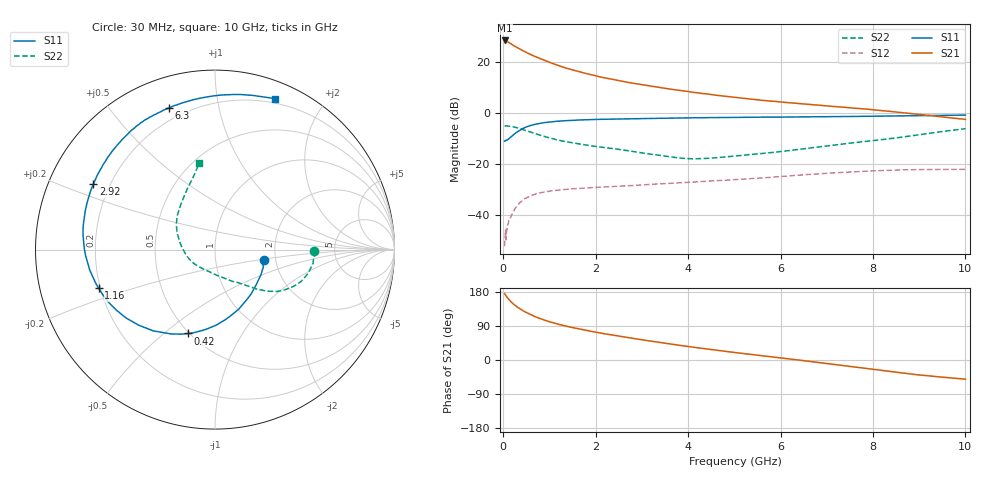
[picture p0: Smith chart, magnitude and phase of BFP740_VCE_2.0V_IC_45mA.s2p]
! Infineon Technologies  Discrete & RF Semiconductors
! BFP740
! VCE =  2.0 V,  IC =  45 mA
! Common Emitter S-Parameters:  Jan 2016
# GHz  S  MA  R  50
!  f  S11  S21  S12  S22
! GHz  MAG  ANG  MAG  ANG  MAG  ANG  MAG  ANG
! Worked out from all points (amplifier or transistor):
!   229 points, 30 MHz to 10 GHz, reference 50 ohm
!   highest |S21| = 28.5 dB at 30 MHz (marker M1)
!   |S21| within 3 dB of that: start of sweep to 323.7 MHz
!   unconditionally stable (mu >= 1): start of sweep to 339.3 MHz; 1.646 GHz to end of sweep
!   at 280 MHz: K = 1.12, MAG = 29.4 dB, |S12| = -37.0 dB
!   at 1.78 GHz: K = 1.03, MAG = 21.5 dB, |S12| = -29.5 dB
!   at 10 GHz: K = 1.51, MAG = 5.6 dB, |S12| = -22.2 dB
!   S11 on the Smith chart (normalised r, x): 30 MHz: 1.73, -0.22; 420 MHz: 0.49, -0.61; 1.16 GHz: 0.19, -0.16; 2.92 GHz: 0.14, +0.25; 6.3 GHz: 0.14, +0.72; 10 GHz: 0.16, +1.46
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0.03  0.2788 -12.4  26.52 174.8  0.0024 43.1  0.5492 -0.9
0.05  0.2871 -20.4  26.25 171.4  0.005 46.3  0.5537 -2.9
0.06  0.2871 -23.9  25.99 169.3  0.0032 39.3  0.5541 -3.4
0.11  0.3044 -42.4  24.6 161.3  0.0066 65.2  0.5507 -7.3
0.15  0.3258 -55.0  23.32 155.8  0.0085 57.5  0.5452 -10.3
0.195  0.3535 -67.2  21.95 150.4  0.0103 60.6  0.5372 -13.5
0.3  0.4217 -89.3  19.28 140.1  0.0148 57.0  0.5117 -20.3
0.42  0.4905 -107.7  16.79 130.6  0.0191 50.8  0.472 -26.6
0.6  0.5691 -127.3  13.9 119.1  0.0236 43.0  0.4173 -34.0
0.7  0.5996 -135.6  12.7 113.8  0.0255 40.4  0.3886 -36.8
0.9  0.6459 -148.8  10.68 104.7  0.028 35.7  0.3407 -41.2
1.16  0.6832 -161.6  8.729 95.5  0.0302 31.0  0.2961 -45.5
1.4  0.7077 -171.0  7.411 88.2  0.0316 28.6  0.2675 -48.8
1.7  0.7284 179.4  6.238 80.5  0.033 26.6  0.2404 -52.1
2.28  0.7524 164.8  4.701 67.4  0.0353 24.6  0.2035 -60.6
2.92  0.7701 151.6  3.684 54.8  0.038 23.5  0.1682 -71.7
3.4  0.7827 142.8  3.144 46.1  0.0403 23.0  0.1452 -84.8
5.1  0.8191 119.3  1.975 18.5  0.0492 20.6  0.1445 -150.9
6.3  0.8305 108.1  1.558 1.4  0.0589 17.3  0.1867 174.6
6.8  0.8373 102.7  1.424 -6.1  0.0631 14.2  0.2126 162.5
8.4  0.8708 83.0  1.063 -30.7  0.0747 1.7  0.3138 127.5
10  0.9047 68.5  0.745 -50.6  0.0777 -10.2  0.4888 100.4
